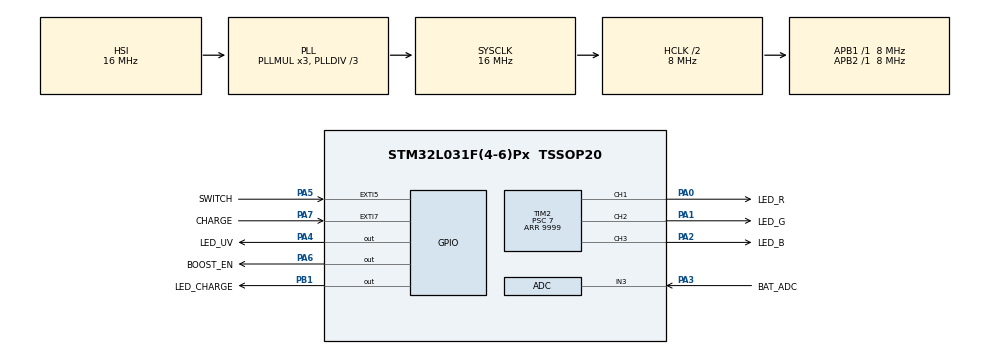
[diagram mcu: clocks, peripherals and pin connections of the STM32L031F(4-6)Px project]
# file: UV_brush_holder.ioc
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ADC.ContinuousConvMode=ENABLE
ADC.LowPowerAutoPowerOff=DISABLE
ADC.LowPowerAutoWait=DISABLE
ADC.LowPowerFrequencyMode=DISABLE
IWDG.Prescaler=IWDG_PRESCALER_128
IWDG.Reload=4095
IWDG.Window=4095
Mcu.Family=STM32L0
Mcu.Name=STM32L031F(4-6)Px
Mcu.Package=TSSOP20
NVIC.EXTI4_15_IRQn=true\:0\:0\:false\:false\:true\:true\:true
NVIC.PVD_IRQn=true\:0\:0\:false\:false\:true\:true\:true
PA0-CK_IN.GPIO_Label=LED_R
PA0-CK_IN.GPIO_PuPd=GPIO_PULLUP
PA0-CK_IN.Signal=S_TIM2_CH1
PA1.GPIO_Label=LED_G
PA1.GPIO_PuPd=GPIO_PULLUP
PA1.Signal=S_TIM2_CH2
PA13.Mode=Serial_Wire
PA13.Signal=SYS_SWDIO
PA14.Mode=Serial_Wire
PA14.Signal=SYS_SWCLK
PA2.GPIO_Label=LED_B
PA2.GPIO_PuPd=GPIO_PULLUP
PA2.Signal=S_TIM2_CH3
PA3.GPIO_Label=BAT_ADC
PA3.Mode=IN3
PA3.Signal=ADC_IN3
PA4.GPIO_Label=LED_UV
PA4.Signal=GPIO_Output
PA5.GPIO_Label=SWITCH
PA5.GPIO_ModeDefaultEXTI=GPIO_MODE_IT_RISING
PA5.Signal=GPXTI5
PA6.GPIO_Label=BOOST_EN
PA6.Signal=GPIO_Output
PA7.GPIO_Label=CHARGE
PA7.GPIO_ModeDefaultEXTI=GPIO_MODE_IT_RISING
PA7.Signal=GPXTI7
PB1.GPIO_Label=LED_CHARGE
PB1.Signal=GPIO_Output
ProjectManager.HeapSize=0x200
ProjectManager.StackSize=0x400
ProjectManager.TargetToolchain=STM32CubeIDE
RCC.AHBCLKDivider=RCC_SYSCLK_DIV2
RCC.AHBFreq_Value=8000000
RCC.APB1Freq_Value=8000000
RCC.APB1TimFreq_Value=8000000
RCC.APB2Freq_Value=8000000
RCC.APB2TimFreq_Value=8000000
RCC.HCLKFreq_Value=8000000
RCC.HSE_VALUE=8000000
RCC.HSI16_VALUE=16000000
RCC.HSI_VALUE=16000000
RCC.LSE_VALUE=32768
RCC.MSI_VALUE=2097000
RCC.PLLDIV=RCC_PLLDIV_3
RCC.SYSCLKFreq_VALUE=16000000
RCC.SYSCLKSource=RCC_SYSCLKSOURCE_PLLCLK
RCC.VCOOutputFreq_Value=48000000
SH.S_TIM2_CH1.0=TIM2_CH1,PWM Generation1 CH1
SH.S_TIM2_CH2.0=TIM2_CH2,PWM Generation2 CH2
SH.S_TIM2_CH3.0=TIM2_CH3,PWM Generation3 CH3
TIM2.AutoReloadPreload=TIM_AUTORELOAD_PRELOAD_ENABLE
TIM2.Channel-PWM\ Generation1\ CH1=TIM_CHANNEL_1
TIM2.Channel-PWM\ Generation2\ CH2=TIM_CHANNEL_2
TIM2.Channel-PWM\ Generation3\ CH3=TIM_CHANNEL_3
TIM2.Period=9999
TIM2.Prescaler=7
VP_IWDG_VS_IWDG.Mode=IWDG_Activate
board=custom

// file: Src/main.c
/* USER CODE BEGIN Header */
/**
  ******************************************************************************
  * @file           : main.c
  * @brief          : Main program body
  ******************************************************************************
  * @attention
  *
  * <h2><center>&copy; Copyright (c) 2019 STMicroelectronics.
  * All rights reserved.</center></h2>
  *
  * This software component is licensed by ST under BSD 3-Clause license,
  * the "License"; You may not use this file except in compliance with the
  * License. You may obtain a copy of the License at:
  *                        opensource.org/licenses/BSD-3-Clause
  *
  ******************************************************************************
  */
/* USER CODE END Header */

#include "main.h"

/* USER CODE BEGIN Includes */
#include "brush.h"
/* USER CODE END Includes */

/* USER CODE BEGIN PTD */
#define BAT_MIN_LIMIT 10
#define BAT_MIN 30
#define BAT_MAX 90

#define BAT_MIN_ADC 3367
#define BAT_MAX_ADC 3895
/* USER CODE END PTD */

ADC_HandleTypeDef hadc;

IWDG_HandleTypeDef hiwdg;

TIM_HandleTypeDef htim2;

/* USER CODE BEGIN PV */

uint8_t isSwitch = 0;
uint8_t isCharging = 0;
uint8_t isRunning = 0;
uint8_t isLowBat = 0;

uint8_t moodlighting = 0;
uint8_t uvlighting = 0;

uint8_t step = 0;

uint8_t clickcount = 0;
uint8_t getcount = 0;
uint8_t pastcount = 0;

uint32_t nowtick = 0;
uint32_t pasttick = 0;

uint32_t nowledtick = 0;
uint32_t pastledtick = 0;

uint32_t nowadctick = 0;
uint32_t pastadctick = 0;

uint32_t nowbattick = 0;
uint32_t pastbattick = 0;

uint32_t nowsleeptick = 0;
uint32_t pastsleeptick = 0;

uint16_t adcValue = 0;
float a = 0;
uint8_t b = 0;
/* USER CODE END PV */

void SystemClock_Config(void);
static void MX_GPIO_Init(void);
static void MX_TIM2_Init(void);
static void MX_ADC_Init(void);
static void MX_IWDG_Init(void);

int main(void)
{

  /* MCU Configuration--------------------------------------------------------*/

  /* Reset of all peripherals, Initializes the Flash interface and the Systick. */
  HAL_Init();

  /* Configure the system clock */
  SystemClock_Config();

  /* Initialize all configured peripherals */
  MX_GPIO_Init();
  MX_TIM2_Init();
  MX_ADC_Init();
  MX_IWDG_Init();
  /* USER CODE BEGIN 2 */

  /*
   * if IWDG ?
   * */
  if(__HAL_RCC_GET_FLAG(RCC_FLAG_IWDGRST) == SET)
  {
	  set_charging_led(ON);
	  __HAL_RCC_CLEAR_RESET_FLAGS();
  }
  else
  {
	  set_charging_led(OFF);
  }
  HAL_Delay(1000);

  HAL_TIM_PWM_Start(&htim2, TIM_CHANNEL_1);
  HAL_TIM_PWM_Start(&htim2, TIM_CHANNEL_2);
  HAL_TIM_PWM_Start(&htim2, TIM_CHANNEL_3);

  HAL_ADC_Start(&hadc);

  htim2.Instance->CCR1 = 0;
  htim2.Instance->CCR2 = 0;
  htim2.Instance->CCR3 = 0;

  set_charging_led(OFF);
  set_uv_led(OFF);
  set_boost(OFF);

  HAL_GPIO_WritePin(GPIOA, GPIO_PIN_6, GPIO_PIN_RESET);

  /* USER CODE END 2 */

  /* Infinite loop */
  while (1)
  {

    /* USER CODE BEGIN 3 */

	  /*
	   * IWDG refreshing
	   * */
	  HAL_IWDG_Refresh(&hiwdg);

	  isCharging = HAL_GPIO_ReadPin(CHARGE_GPIO_Port, CHARGE_Pin);

	  if(!isCharging && b < 10)
	  {
		  //low battery.
		  isLowBat = 1;
		  set_charging_led(TOGGLE);
		  HAL_Delay(500);
		  set_charging_led(TOGGLE);
		  HAL_Delay(500);
		  set_charging_led(TOGGLE);
		  HAL_Delay(500);
		  set_charging_led(TOGGLE);
		  HAL_Delay(500);
		  set_charging_led(TOGGLE);
		  HAL_Delay(500);
		  set_charging_led(TOGGLE);
		  HAL_Delay(500);
	  }
	  else
	  {
		  isLowBat = 0;
	  }

	  nowbattick = HAL_GetTick();
	  if(nowbattick - pastbattick > 1000)
	  {
		  a = (float)(adcValue - 3368) * 0.1953;
		  b = a;

		  if(isCharging)
		  {
			  if(b > BAT_MAX)
			  {
				  set_charging_led(OFF);
			  }
			  else
			  {
				  set_charging_led(ON);
			  }
		  }
		  else
		  {
		  }
	  pastbattick = nowbattick;
	  }

	  /*
	   * ADC conversion
	   * every 100ms
	   * */
	  nowadctick = HAL_GetTick();
	  if(nowadctick - pastadctick > 100)
	  {
		  //HAL_ADC_Start(&hadc);
		  HAL_ADC_PollForConversion(&hadc, 0xFFFF);
		  adcValue = HAL_ADC_GetValue(&hadc);

		  pastadctick = nowadctick;
	  }
	  /*
	   * LED testing
	   * pwm control
	   * */
	  nowledtick = HAL_GetTick();
	  if(nowledtick - pastledtick > 5)
	  {
		  if(uvlighting && moodlighting)
		  {
			  htim2.Instance->CCR1++;
			  htim2.Instance->CCR2+=2;
			  htim2.Instance->CCR3+=10;
			  if(htim2.Instance->CCR1 > 9998)
				  htim2.Instance->CCR1 = 0;
			  if(htim2.Instance->CCR2 > 9998)
				  htim2.Instance->CCR2 = 0;
			  if(htim2.Instance->CCR3 > 9998)
				  htim2.Instance->CCR3 = 0;
		  }
		  else if(!uvlighting && !moodlighting)
		  {
			  htim2.Instance->CCR1 = 0;
			  htim2.Instance->CCR2 = 0;
			  htim2.Instance->CCR3 = 0;
			  htim2.Instance->CCR4 = 0;
		  }
		  else if(uvlighting && !moodlighting)
		  {
			  htim2.Instance->CCR1 = 0;
			  htim2.Instance->CCR2 = 0;
			  htim2.Instance->CCR3 = 9000;
		  }
		  else if(!uvlighting && moodlighting)
		  {
			  htim2.Instance->CCR1++;
			  htim2.Instance->CCR2+=2;
			  htim2.Instance->CCR3+=10;
			  if(htim2.Instance->CCR1 > 9998)
				  htim2.Instance->CCR1 = 0;
			  if(htim2.Instance->CCR2 > 9998)
				  htim2.Instance->CCR2 = 0;
			  if(htim2.Instance->CCR3 > 9998)
				  htim2.Instance->CCR3 = 0;
		  }
		  else
		  {
			  htim2.Instance->CCR1 = 0;
			  htim2.Instance->CCR2 = 0;
			  htim2.Instance->CCR3 = 0;
			  htim2.Instance->CCR4 = 0;
		  }
		  pastledtick = nowledtick;
	  }

	  if(uvlighting)
	  {
		  set_boost(ON);
		  set_uv_led(ON);
	  }
	  else
	  {
		  set_boost(OFF);
		  set_uv_led(OFF);
	  }

	  /*
	   * main task
	   * switch control
	   * double or triple click maximum waiting is 300ms.
	   * if weighing time is over 500ms select task.
	   * 1 click
	   * UV LED lighting and few second later, shut down UV led power.
	   * 2 clicks
	   * 3color LED lighting & shut down UV led power.
	   * 3 clicks
	   * all shutdown. go to sleep mode.
	   * */
	  nowtick = HAL_GetTick();
	  if(isSwitch)
	  {
		  if(nowtick - pasttick > 800)
		  {

			  clickcount++;
			  isSwitch = 0;

			  pasttick = nowtick;
		  }
	  }
	  if(nowtick - pasttick > 1000)		//1sec
	  {
		  getcount = clickcount;

		  if(getcount != pastcount)
		  {
			  step ++;
			  //end

		  }
		  switch(step)
		  {
			  //task cases
			  case 1:
				  isRunning = 1;
				  uvlighting = 1;
				  moodlighting = 0;
				  break;
			  case 2:
				  isRunning = 1;
				  uvlighting = 0;
				  moodlighting = 1;
				  break;
			  case 3:
				  isRunning = 1;
				  uvlighting = 0;
				  moodlighting = 0;
				  step = 0;
				  break;
			  default:
				  isRunning = 0;
				  uvlighting = 0;
				  moodlighting = 0;
				  step = 0;
				  break;
		  }
		  //reset
		  isSwitch = 0;

		  pastcount = getcount;
		  pasttick = nowtick;
	  }

	  nowsleeptick = HAL_GetTick();

	  if(nowsleeptick - pastsleeptick > 5000)
	  {
		  if(isLowBat)
		  {
			  isRunning = 0;
			  uvlighting = 0;
			  moodlighting = 0;
			  step = 0;
			  set_charging_led(OFF);
			  set_uv_led(OFF);
			  set_boost(OFF);
			  HAL_SuspendTick();
			  HAL_PWR_EnterSLEEPMode(PWR_LOWPOWERREGULATOR_ON, PWR_SLEEPENTRY_WFI);
			  HAL_ResumeTick();
		  }
		  //is running?
		  else if(isRunning || (!isRunning && isCharging))
		  {
			  //do nothing//
		  }
		  else
		  {
			  //enter sleep
			  set_charging_led(OFF);
			  set_uv_led(OFF);
			  set_boost(OFF);
			  HAL_SuspendTick();
			  HAL_PWR_EnterSLEEPMode(PWR_LOWPOWERREGULATOR_ON, PWR_SLEEPENTRY_WFI);
			  HAL_ResumeTick();
		  }

		  pastsleeptick = nowsleeptick;
	  }

  }
  /* USER CODE END 3 */
}

void SystemClock_Config(void)
{
  RCC_OscInitTypeDef RCC_OscInitStruct = {0};
  RCC_ClkInitTypeDef RCC_ClkInitStruct = {0};

  /** Configure the main internal regulator output voltage
  */
  __HAL_PWR_VOLTAGESCALING_CONFIG(PWR_REGULATOR_VOLTAGE_SCALE1);
  /** Initializes the CPU, AHB and APB busses clocks
  */
  RCC_OscInitStruct.OscillatorType = RCC_OSCILLATORTYPE_HSI|RCC_OSCILLATORTYPE_LSI;
  RCC_OscInitStruct.HSIState = RCC_HSI_ON;
  RCC_OscInitStruct.HSICalibrationValue = RCC_HSICALIBRATION_DEFAULT;
  RCC_OscInitStruct.LSIState = RCC_LSI_ON;
  RCC_OscInitStruct.PLL.PLLState = RCC_PLL_ON;
  RCC_OscInitStruct.PLL.PLLSource = RCC_PLLSOURCE_HSI;
  RCC_OscInitStruct.PLL.PLLMUL = RCC_PLLMUL_3;
  RCC_OscInitStruct.PLL.PLLDIV = RCC_PLLDIV_3;
  if (HAL_RCC_OscConfig(&RCC_OscInitStruct) != HAL_OK)
  {
    Error_Handler();
  }
  /** Initializes the CPU, AHB and APB busses clocks
  */
  RCC_ClkInitStruct.ClockType = RCC_CLOCKTYPE_HCLK|RCC_CLOCKTYPE_SYSCLK
                              |RCC_CLOCKTYPE_PCLK1|RCC_CLOCKTYPE_PCLK2;
  RCC_ClkInitStruct.SYSCLKSource = RCC_SYSCLKSOURCE_PLLCLK;
  RCC_ClkInitStruct.AHBCLKDivider = RCC_SYSCLK_DIV2;
  RCC_ClkInitStruct.APB1CLKDivider = RCC_HCLK_DIV1;
  RCC_ClkInitStruct.APB2CLKDivider = RCC_HCLK_DIV1;

  if (HAL_RCC_ClockConfig(&RCC_ClkInitStruct, FLASH_LATENCY_0) != HAL_OK)
  {
    Error_Handler();
  }
}

static void MX_ADC_Init(void)
{

  ADC_ChannelConfTypeDef sConfig = {0};

  /** Configure the global features of the ADC (Clock, Resolution, Data Alignment and number of conversion)
  */
  hadc.Instance = ADC1;
  hadc.Init.OversamplingMode = DISABLE;
  hadc.Init.ClockPrescaler = ADC_CLOCK_SYNC_PCLK_DIV2;
  hadc.Init.Resolution = ADC_RESOLUTION_12B;
  hadc.Init.SamplingTime = ADC_SAMPLETIME_1CYCLE_5;
  hadc.Init.ScanConvMode = ADC_SCAN_DIRECTION_FORWARD;
  hadc.Init.DataAlign = ADC_DATAALIGN_RIGHT;
  hadc.Init.ContinuousConvMode = ENABLE;
  hadc.Init.DiscontinuousConvMode = DISABLE;
  hadc.Init.ExternalTrigConvEdge = ADC_EXTERNALTRIGCONVEDGE_NONE;
  hadc.Init.ExternalTrigConv = ADC_SOFTWARE_START;
  hadc.Init.DMAContinuousRequests = DISABLE;
  hadc.Init.EOCSelection = ADC_EOC_SINGLE_CONV;
  hadc.Init.Overrun = ADC_OVR_DATA_PRESERVED;
  hadc.Init.LowPowerAutoWait = DISABLE;
  hadc.Init.LowPowerFrequencyMode = DISABLE;
  hadc.Init.LowPowerAutoPowerOff = DISABLE;
  if (HAL_ADC_Init(&hadc) != HAL_OK)
  {
    Error_Handler();
  }
  /** Configure for the selected ADC regular channel to be converted.
  */
  sConfig.Channel = ADC_CHANNEL_3;
  sConfig.Rank = ADC_RANK_CHANNEL_NUMBER;
  if (HAL_ADC_ConfigChannel(&hadc, &sConfig) != HAL_OK)
  {
    Error_Handler();
  }

}

static void MX_IWDG_Init(void)
{

  hiwdg.Instance = IWDG;
  hiwdg.Init.Prescaler = IWDG_PRESCALER_128;
  hiwdg.Init.Window = 4095;
  hiwdg.Init.Reload = 4095;
  if (HAL_IWDG_Init(&hiwdg) != HAL_OK)
  {
    Error_Handler();
  }

}

static void MX_TIM2_Init(void)
{

  TIM_MasterConfigTypeDef sMasterConfig = {0};
  TIM_OC_InitTypeDef sConfigOC = {0};

  htim2.Instance = TIM2;
  htim2.Init.Prescaler = 7;
  htim2.Init.CounterMode = TIM_COUNTERMODE_UP;
  htim2.Init.Period = 9999;
  htim2.Init.ClockDivision = TIM_CLOCKDIVISION_DIV1;
  htim2.Init.AutoReloadPreload = TIM_AUTORELOAD_PRELOAD_ENABLE;
  if (HAL_TIM_PWM_Init(&htim2) != HAL_OK)
  {
    Error_Handler();
  }
  sMasterConfig.MasterOutputTrigger = TIM_TRGO_RESET;
  sMasterConfig.MasterSlaveMode = TIM_MASTERSLAVEMODE_DISABLE;
  if (HAL_TIMEx_MasterConfigSynchronization(&htim2, &sMasterConfig) != HAL_OK)
  {
    Error_Handler();
  }
  sConfigOC.OCMode = TIM_OCMODE_PWM1;
  sConfigOC.Pulse = 0;
  sConfigOC.OCPolarity = TIM_OCPOLARITY_HIGH;
  sConfigOC.OCFastMode = TIM_OCFAST_DISABLE;
  if (HAL_TIM_PWM_ConfigChannel(&htim2, &sConfigOC, TIM_CHANNEL_1) != HAL_OK)
  {
    Error_Handler();
  }
  if (HAL_TIM_PWM_ConfigChannel(&htim2, &sConfigOC, TIM_CHANNEL_2) != HAL_OK)
  {
    Error_Handler();
  }
  if (HAL_TIM_PWM_ConfigChannel(&htim2, &sConfigOC, TIM_CHANNEL_3) != HAL_OK)
  {
    Error_Handler();
  }
  HAL_TIM_MspPostInit(&htim2);

}

static void MX_GPIO_Init(void)
{
  GPIO_InitTypeDef GPIO_InitStruct = {0};

  /* GPIO Ports Clock Enable */
  __HAL_RCC_GPIOA_CLK_ENABLE();
  __HAL_RCC_GPIOB_CLK_ENABLE();

  /*Configure GPIO pin Output Level */
  HAL_GPIO_WritePin(GPIOA, LED_UV_Pin|BOOST_EN_Pin, GPIO_PIN_RESET);

  /*Configure GPIO pin Output Level */
  HAL_GPIO_WritePin(LED_CHARGE_GPIO_Port, LED_CHARGE_Pin, GPIO_PIN_RESET);

  /*Configure GPIO pins : LED_UV_Pin BOOST_EN_Pin */
  GPIO_InitStruct.Pin = LED_UV_Pin|BOOST_EN_Pin;
  GPIO_InitStruct.Mode = GPIO_MODE_OUTPUT_PP;
  GPIO_InitStruct.Pull = GPIO_NOPULL;
  GPIO_InitStruct.Speed = GPIO_SPEED_FREQ_LOW;
  HAL_GPIO_Init(GPIOA, &GPIO_InitStruct);

  /*Configure GPIO pins : SWITCH_Pin CHARGE_Pin */
  GPIO_InitStruct.Pin = SWITCH_Pin|CHARGE_Pin;
  GPIO_InitStruct.Mode = GPIO_MODE_IT_RISING;
  GPIO_InitStruct.Pull = GPIO_NOPULL;
  HAL_GPIO_Init(GPIOA, &GPIO_InitStruct);

  /*Configure GPIO pin : LED_CHARGE_Pin */
  GPIO_InitStruct.Pin = LED_CHARGE_Pin;
  GPIO_InitStruct.Mode = GPIO_MODE_OUTPUT_PP;
  GPIO_InitStruct.Pull = GPIO_NOPULL;
  GPIO_InitStruct.Speed = GPIO_SPEED_FREQ_LOW;
  HAL_GPIO_Init(LED_CHARGE_GPIO_Port, &GPIO_InitStruct);

  /* EXTI interrupt init*/
  HAL_NVIC_SetPriority(EXTI4_15_IRQn, 0, 0);
  HAL_NVIC_EnableIRQ(EXTI4_15_IRQn);

}

/* USER CODE BEGIN 4 */

void HAL_GPIO_EXTI_Callback(uint16_t GPIO_Pin)
{
	if(GPIO_Pin == SWITCH_Pin)
	{
		isSwitch = 1;
	}
	else if(GPIO_Pin == CHARGE_Pin)
	{
		isCharging = 1;
	}
}

/* USER CODE END 4 */

void Error_Handler(void)
{
}

/************************ (C) COPYRIGHT STMicroelectronics *****END OF FILE****/
